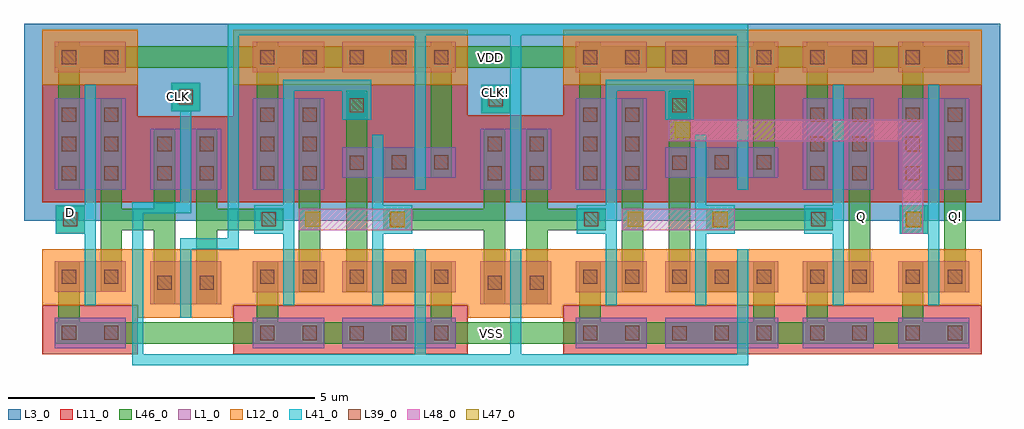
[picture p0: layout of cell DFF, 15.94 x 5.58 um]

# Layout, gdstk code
import gdstk
lib = gdstk.Library(unit=1e-6, precision=1e-09)
def R(c, l, rs):  # rectangles x0, y0, x1, y1
    for r in rs: c.add(gdstk.rectangle(r[:2], r[2:], *l))
def A(c, l, x, y, w, h, nx, ny, dx, dy):  # array of equal rectangles
    R(c, l, [(x+i*dx, y+j*dy, x+i*dx+w, y+j*dy+h) for i in range(nx) for j in range(ny)])
L1_0 = (1, 0)
L3_0 = (3, 0)
L11_0 = (11, 0)
L12_0 = (12, 0)
L39_0 = (39, 0)
L41_0 = (41, 0)
L46_0 = (46, 0)
L47_0 = (47, 0)
L48_0 = (48, 0)

dff = lib.new_cell('DFF')
R(dff, L1_0, [(2.65,0.085,3.81,0.585), (4.11,0.085,5.96,0.585), (7.92,0.085,9.08,0.585), (9.38,0.085,11.23,0.585), (11.63,0.085,12.79,0.585), (13.19,0.085,14.35,0.585), (-0.59,0.087,0.57,0.587), (0.97,0.807,2.13,1.507), (6.36,0.807,7.52,1.507), (2.65,1.005,3.81,1.505), (4.11,1.005,5.96,1.505), (7.92,1.005,9.08,1.505), (9.38,1.005,11.23,1.505), (11.63,1.005,12.79,1.505), (13.19,1.005,14.35,1.505), (-0.59,1.007,0.57,1.507), (-0.59,2.672,0.57,4.172), (0.97,2.672,2.13,3.672), (2.65,2.672,3.81,4.172), (6.36,2.672,7.52,3.672), (7.92,2.672,9.08,4.172), (11.63,2.672,12.79,4.172), (13.19,2.672,14.35,4.172), (4.11,2.872,5.96,3.372), (9.38,2.872,11.23,3.372), (-0.59,4.592,0.57,5.092), (2.65,4.592,3.81,5.092), (4.11,4.592,5.96,5.092), (7.92,4.592,9.08,5.092), (9.38,4.592,11.23,5.092), (11.63,4.592,12.79,5.092), (13.19,4.592,14.35,5.092)])
R(dff, L3_0, [(-1.09,2.17,14.85,5.39)])
R(dff, L11_0, [(2.33,-0.015,6.16,0.785), (7.72,-0.015,14.55,0.785), (-0.79,-0.013,0.77,0.787), (7.72,2.47,14.55,4.39), (-0.79,2.472,0.77,4.392), (0.77,2.472,2.33,3.872), (2.33,2.472,6.16,4.392), (6.16,2.472,7.72,3.892)])
R(dff, L12_0, [(0.77,0.587,2.33,1.707), (6.16,0.587,7.72,1.707), (2.33,0.785,6.16,1.705), (7.72,0.785,14.55,1.705), (-0.79,0.787,0.77,1.707), (7.72,4.39,14.55,5.29), (-0.79,4.392,0.77,5.292), (2.33,4.392,6.16,5.292)])
A(dff, L39_0, -0.47, 2.827, 0.23, 0.23, 1, 3, 0, 0.48)
A(dff, L39_0, 0.22, 2.827, 0.23, 0.23, 1, 3, 0, 0.48)
A(dff, L39_0, 2.77, 2.827, 0.23, 0.23, 1, 3, 0, 0.48)
A(dff, L39_0, 3.46, 2.827, 0.23, 0.23, 1, 3, 0, 0.48)
A(dff, L39_0, 8.04, 2.827, 0.23, 0.23, 1, 3, 0, 0.48)
A(dff, L39_0, 8.73, 2.827, 0.23, 0.23, 1, 3, 0, 0.48)
A(dff, L39_0, 11.75, 2.827, 0.23, 0.23, 1, 3, 0, 0.48)
A(dff, L39_0, 12.44, 2.827, 0.23, 0.23, 1, 3, 0, 0.48)
A(dff, L39_0, 13.31, 2.827, 0.23, 0.23, 1, 3, 0, 0.48)
A(dff, L39_0, 14, 2.827, 0.23, 0.23, 1, 3, 0, 0.48)
R(dff, L39_0, [(4.23,0.216,4.46,0.446), (9.5,0.216,9.73,0.446), (2.77,0.22,3,0.45), (3.46,0.22,3.69,0.45), (4.92,0.22,5.15,0.45), (5.61,0.22,5.84,0.45), (8.04,0.22,8.27,0.45), (8.73,0.22,8.96,0.45), (10.19,0.22,10.42,0.45), (10.88,0.22,11.11,0.45), (11.75,0.22,11.98,0.45), (12.44,0.22,12.67,0.45), (13.31,0.22,13.54,0.45), (14,0.22,14.23,0.45), (-0.47,0.222,-0.24,0.452), (0.22,0.222,0.45,0.452), (1.09,1.042,1.32,1.272), (1.78,1.042,2.01,1.272), (6.48,1.042,6.71,1.272), (7.17,1.042,7.4,1.272), (4.23,1.136,4.46,1.366), (9.5,1.136,9.73,1.366), (2.77,1.14,3,1.37), (3.46,1.14,3.69,1.37), (4.92,1.14,5.15,1.37), (5.61,1.14,5.84,1.37), (8.04,1.14,8.27,1.37), (8.73,1.14,8.96,1.37), (10.19,1.14,10.42,1.37), (10.88,1.14,11.11,1.37), (11.75,1.14,11.98,1.37), (12.44,1.14,12.67,1.37), (13.31,1.14,13.54,1.37), (14,1.14,14.23,1.37), (-0.47,1.142,-0.24,1.372), (0.22,1.142,0.45,1.372), (-0.45,2.075,-0.22,2.305), (2.79,2.075,3.02,2.305), (4.9,2.075,5.13,2.305), (8.06,2.075,8.29,2.305), (10.17,2.075,10.4,2.305), (11.77,2.075,12,2.305), (13.33,2.075,13.56,2.305), (1.09,2.827,1.32,3.057), (1.78,2.827,2.01,3.057), (6.48,2.827,6.71,3.057), (7.17,2.827,7.4,3.057), (4.23,3.003,4.46,3.233), (9.5,3.003,9.73,3.233), (4.92,3.007,5.15,3.237), (5.61,3.007,5.84,3.237), (10.19,3.007,10.42,3.237), (10.88,3.007,11.11,3.237), (1.09,3.307,1.32,3.537), (1.78,3.307,2.01,3.537), (6.48,3.307,6.71,3.537), (7.17,3.307,7.4,3.537), (4.23,3.942,4.46,4.172), (9.5,3.942,9.73,4.172), (6.5,4.042,6.73,4.272), (1.435,4.075,1.665,4.305), (4.23,4.723,4.46,4.953), (9.5,4.723,9.73,4.953), (-0.47,4.727,-0.24,4.957), (0.22,4.727,0.45,4.957), (2.77,4.727,3,4.957), (3.46,4.727,3.69,4.957), (4.92,4.727,5.15,4.957), (5.61,4.727,5.84,4.957), (8.04,4.727,8.27,4.957), (8.73,4.727,8.96,4.957), (10.19,4.727,10.42,4.957), (10.88,4.727,11.11,4.957), (11.75,4.727,11.98,4.957), (12.44,4.727,12.67,4.957), (13.31,4.727,13.54,4.957), (14,4.727,14.23,4.957)])
R(dff, L41_0, [(0.68,-0.195,0.86,2.472), (0.68,-0.195,6.85,-0.015), (5.29,-0.195,5.47,1.705), (6.85,-0.195,10.74,-0.015), (6.85,-0.195,7.03,1.707), (10.56,-0.195,10.74,1.705), (1.46,0.587,1.64,1.885), (12.12,0.785,12.3,4.392), (13.68,0.785,13.86,4.392), (-0.1,0.787,0.08,4.392), (3.14,0.787,3.32,4.392), (4.6,0.787,4.78,3.572), (8.41,0.787,8.59,4.392), (9.87,0.787,10.05,3.572), (1.46,1.705,2.42,1.885), (2.24,1.705,2.42,5.379), (-0.57,1.955,-0.1,2.425), (2.67,1.955,3.14,2.425), (4.78,1.955,5.25,2.425), (7.94,1.955,8.41,2.425), (10.05,1.955,10.52,2.425), (11.65,1.955,12.12,2.425), (13.21,1.955,13.68,2.425), (0.68,2.292,1.64,2.472), (1.46,2.292,1.64,3.955), (6.85,2.472,7.03,5.379), (5.29,2.672,5.47,5.379), (10.56,2.672,10.74,5.292), (4.11,3.822,4.58,4.292), (9.38,3.822,9.85,4.292), (6.38,3.922,6.85,4.392), (1.315,3.955,1.785,4.425), (3.14,4.292,4.58,4.472), (8.41,4.292,9.85,4.472), (2.24,5.199,6.85,5.379), (6.85,5.199,10.74,5.379)])
R(dff, L46_0, [(-0.59,0.16,14.35,0.51), (11.69,0.16,12.04,1.505), (13.25,0.16,13.6,1.505), (-0.53,0.162,-0.18,1.507), (2.71,0.162,3.06,1.507), (5.55,0.162,5.9,1.507), (7.98,0.162,8.33,1.507), (10.82,0.162,11.17,1.507), (1.03,0.807,1.38,3.672), (1.72,0.807,2.07,3.672), (6.42,0.807,6.77,3.672), (7.11,0.807,7.46,3.672), (12.38,1.005,12.73,4.172), (13.94,1.005,14.29,4.172), (0.16,1.007,0.51,4.172), (3.4,1.007,3.75,4.172), (4.17,1.007,4.52,4.292), (4.78,1.007,5.29,1.507), (8.67,1.007,9.02,4.172), (9.44,1.007,9.79,4.292), (10.05,1.007,10.56,1.507), (-0.57,1.955,-0.1,2.425), (13.21,1.955,13.68,2.425), (0.16,2.014,1.38,2.366), (1.72,2.014,3.14,2.366), (4.78,2.014,6.77,2.366), (7.11,2.014,8.41,2.366), (10.05,2.014,12.12,2.366), (-0.53,2.672,-0.18,5.092), (2.71,2.672,3.06,5.092), (7.98,2.672,8.33,5.092), (11.69,2.672,12.04,5.092), (13.25,2.672,13.6,5.092), (4.78,2.872,5.29,3.372), (5.55,2.872,5.9,5.092), (10.05,2.872,10.56,3.372), (10.82,2.872,11.17,5.092), (6.38,3.922,6.85,4.392), (1.315,3.955,1.785,4.425), (-0.59,4.665,9.38,5.015), (9.38,4.665,14.35,5.015)])
R(dff, L47_0, [(4.88,2.065,5.13,2.315), (10.15,2.065,10.4,2.315), (13.31,2.065,13.56,2.315), (3.5,2.068,3.75,2.318), (8.77,2.068,9.02,2.318), (9.54,3.525,9.79,3.775)])
R(dff, L48_0, [(13.25,1.955,13.6,3.822), (3.4,2.01,5.25,2.365), (8.67,2.01,10.52,2.365), (9.44,3.467,13.6,3.822)])
dff.add(gdstk.Label('Q', (12.58,2.24), layer=101, texttype=0))
dff.add(gdstk.Label('Q!', (14.13,2.24), layer=101, texttype=0))
dff.add(gdstk.Label('D', (-0.335,2.305), layer=101, texttype=0))
dff.add(gdstk.Label('CLK!', (6.615,4.27), layer=101, texttype=0))
dff.add(gdstk.Label('CLK', (1.435,4.19), layer=101, texttype=0))
dff.add(gdstk.Label('VSS', (6.545,0.32), layer=101, texttype=0))
dff.add(gdstk.Label('VDD', (6.53,4.84), layer=101, texttype=0))

lib.write_gds('DFF.gds')
